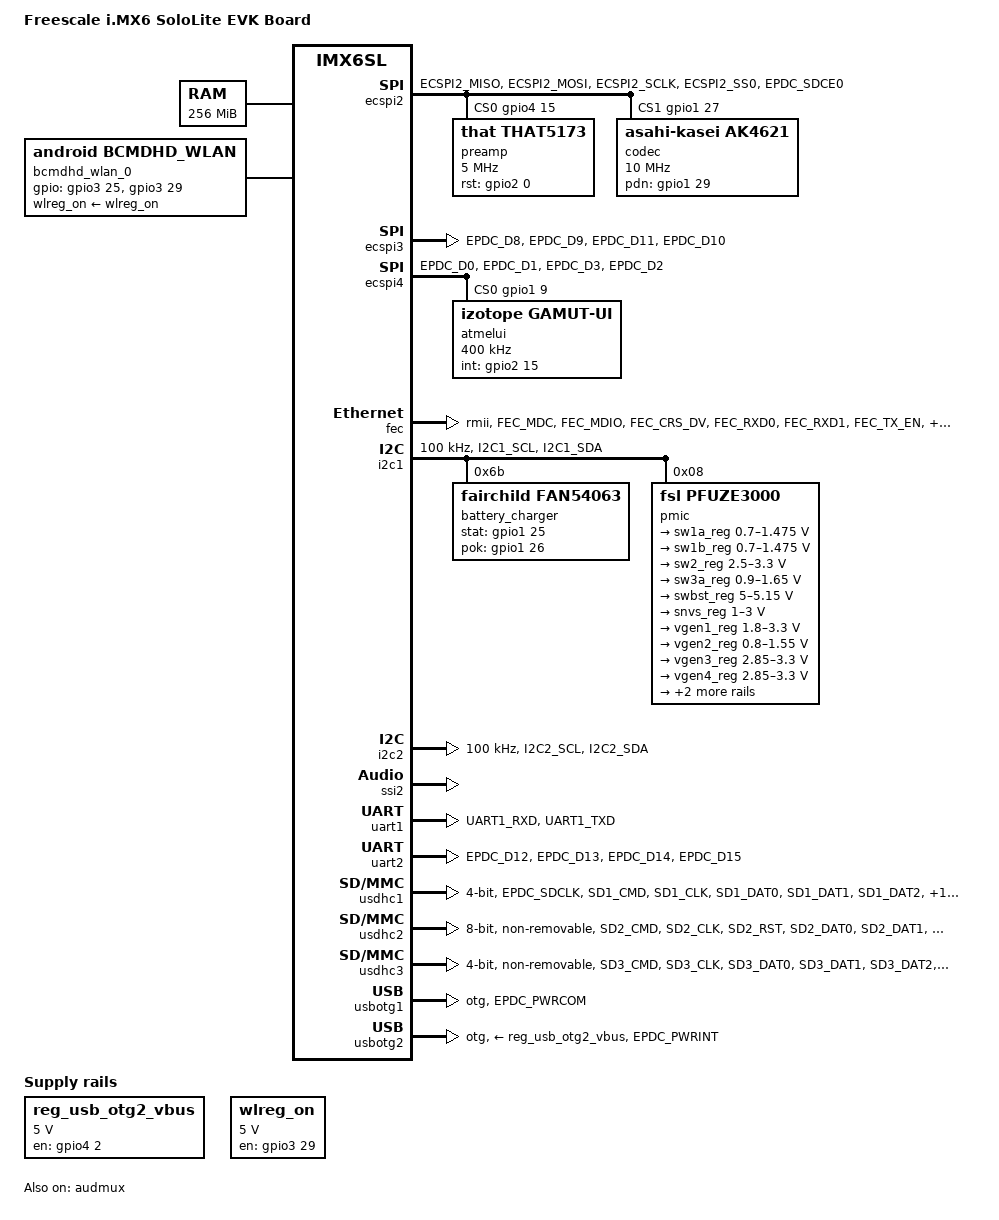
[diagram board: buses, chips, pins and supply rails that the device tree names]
/*
 * Copyright (C) 2013-2014 Freescale Semiconductor, Inc.
 * Copyright (C) 2017 iZotope, Inc. All Rights Reserved.
 *
 * This program is free software; you can redistribute it and/or modify
 * it under the terms of the GNU General Public License version 2 as
 * published by the Free Software Foundation.
 */

/dts-v1/;

/* TODO: convert all spaces to tabs... Atom is annoying like that */

#include <dt-bindings/input/input.h>
#include "imx6sl.dtsi"

/ {
	model = "Freescale i.MX6 SoloLite EVK Board";
	compatible = "fsl,imx6sl-evk", "fsl,imx6sl";

	aliases {
	};

	clocks {
		anaclk1 {
			compatible = "fixed-clock";
			clock-frequency = <24576000>;
		};
	};

	memory {
		/* 256 MiB of RAM */
		reg = <0x80000000 0x10000000>;
	};

	regulators {
		compatible = "simple-bus";
		#address-cells = <1>;
		#size-cells = <0>;

		/* CPU board USB power */
		reg_usb_otg2_vbus: regulator@1 {
			compatible = "regulator-fixed";
			reg = <1>;
			regulator-name = "usb_otg2_vbus";
			regulator-min-microvolt = <5000000>;
			regulator-max-microvolt = <5000000>;
			gpio = <&gpio4 2 0>;
			enable-active-high;
		};

		/* Murata -- add wlreg_on definition.  WL_REG_ON not defined - signal driven by Ver 1.0 Adapter circuit. */
		wlreg_on: fixedregulator@100 {
			compatible = "regulator-fixed";
			regulator-min-microvolt = <5000000>;
			regulator-max-microvolt = <5000000>;
			regulator-name = "wlreg_on";
			gpio = <&gpio3 29 0>; /* WL_REG_ON: SD3_DAT2 (gpio5_16) */
			startup-delay-us = <100>; /* WL_REG_ON needs 61 usec delay */ 
			regulator-always-on; 
			enable-active-high;
		};
	};

	sound {
		compatible = "izotope,gamut-audio-ak4621";
		cpu-dai = <&ssi2>;
		audio-codec = <&codec>;
		mux-int-port = <2>;
		mux-ext-port = <3>;
	};

	/* Murata -- define hook for BCMDHD driver.  */
	bcmdhd_wlan_0: bcmdhd_wlan@0 {
		compatible = "android,bcmdhd_wlan";
		/* WL_HOST_WAKE: SD3_DAT1 (gpio5 20); WL_REG_ON: SD3_DAT2 (gpio5 16) */
		gpios = <&gpio3 25 0>, <&gpio3 29 0>;
		wlreg_on-supply = <&wlreg_on>;
	};
};

&audmux {
	pinctrl-names = "default";
	pinctrl-0 = <&pinctrl_audmux>;
	status = "okay";
};

&clks {
	assigned-clocks = <&clks IMX6SL_PLL4_BYPASS_SRC>,
			  <&clks IMX6SL_PLL4_BYPASS>,
			  <&clks IMX6SL_CLK_EXTERN_AUDIO_SEL>,
			  <&clks IMX6SL_CLK_EXTERN_AUDIO>,
			  <&clks IMX6SL_CLK_PLL4_POST_DIV>;
	assigned-clock-parents = <&clks IMX6SL_CLK_LVDS1_IN>,
				<&clks IMX6SL_PLL4_BYPASS_SRC>,
				<&clks IMX6SL_CLK_PLL4_AUDIO_DIV>;
	assigned-clock-rates = <1>, <1>, <0>, <24000000>,
				<24576000>;
};

&cpu0 {
/*
	arm-supply = <&sw1a_reg>;
	soc-supply = <&sw1c_reg>;
*/
	/* taken from imx6sl-evk-ldo.dts */
	arm-supply = <&reg_arm>;
	soc-supply = <&reg_soc>;
};

/* Generic power-off driver */
&snvs_poweroff {
	status = "okay";
};

/* SPI2: Audio board control */
&ecspi2 {
	fsl,spi-num-chipselects = <2>;
	cs-gpios = <&gpio4 15 0>,
				<&gpio1 27 0>;
	pinctrl-names = "default";
	pinctrl-0 = <&pinctrl_ecspi2>;
	status = "okay";

	/* Forcibly disable DMA for SPI, as the SPI DMA 
	   can interfere with audio DMA. */
	/delete-property/ dma;
	/delete-property/ dma-names;

	preamp: that5173@0 {
		status = "okay";
		compatible = "that,that5173";
		spi-max-frequency = <5000000>;
		daisy-count = <2>;
		gpio-rst = <&gpio2 0 0>;
		reg = <0>;
	};

	codec: ak4621@1 {
		status = "okay";
		compatible = "asahi-kasei,ak4621";
		spi-max-frequency = <10000000>;
		gpio-pdn = <&gpio1 29 0>;
		reg = <1>;
	};
};

/* SPI3: SPI NOR boot flash */
&ecspi3 {
	fsl,spi-num-chipselects = <1>;
	cs-gpios = <&gpio1 17 0>;
	pinctrl-names = "default";
	pinctrl-0 = <&pinctrl_ecspi3>;
	status = "okay";

	/* Forcibly disable DMA for SPI, as the SPI DMA 
	   can interfere with audio DMA. */
	/delete-property/ dma;
	/delete-property/ dma-names;
};

/* SPI4: Atmel UI Comms */
&ecspi4 {
	fsl,spi-num-chipselects = <1>;
	cs-gpios = <&gpio1 9 0>;
	pinctrl-names = "default";
	pinctrl-0 = <&pinctrl_ecspi4>;
	status = "okay";

	/* Forcibly disable DMA for SPI, as the SPI DMA 
	   can interfere with audio DMA. */
	/delete-property/ dma;
	/delete-property/ dma-names;


	atmelui: gamut-ui@0 {
		status = "okay";
		compatible = "izotope,gamut-ui";
		spi-max-frequency = <400000>;
		reg = <0>;
		gpio-int = <&gpio2 15 0>;
	};
};

&fec {
	pinctrl-names = "default", "sleep";
	pinctrl-0 = <&pinctrl_fec>;
	pinctrl-1 = <&pinctrl_fec_sleep>;
	phy-mode = "rmii";
	status = "okay";
};

&gpc {
	/* use ldo-bypass, u-boot will check it and configure */
	/* fsl,ldo-bypass = <1>; */
	/* use ldo-enable, u-boot will check it and configure */
	fsl,ldo-bypass = <0>;
	/* watchdog select of reset source */
	fsl,wdog-reset = <1>;
};

/* I2C to PMIC and FAN54063*/
&i2c1 {
	clock-frequency = <100000>;
	pinctrl-names = "default";
	pinctrl-0 = <&pinctrl_i2c1>;
	status = "okay";

	battery_charger: fan54063@6b {
		compatible = "fairchild,fan54063";
		reg=<0x6b>;

		gpio-stat = <&gpio1 25 0>;
		gpio-pok = <&gpio1 26 0>;
	};

	pmic: pfuze3000@08 {
		compatible = "fsl,pfuze3000";
		reg = <0x08>;

		regulators {
			sw1a_reg: sw1a {
				regulator-min-microvolt = <700000>;
				regulator-max-microvolt = <1475000>;
				regulator-boot-on;
				regulator-always-on;
				regulator-ramp-delay = <6250>;
			};

			sw1b_reg: sw1b {
				regulator-min-microvolt = <700000>;
				regulator-max-microvolt = <1475000>;
				regulator-boot-on;
				regulator-always-on;
				regulator-ramp-delay = <6250>;
			};

			sw2_reg: sw2 {
				regulator-min-microvolt = <2500000>;
				regulator-max-microvolt = <3300000>;
				regulator-boot-on;
				regulator-always-on;
			};

			sw3a_reg: sw3 {
				regulator-min-microvolt = <900000>;
				regulator-max-microvolt = <1650000>;
				regulator-boot-on;
				regulator-always-on;
			};

			swbst_reg: swbst {
				regulator-min-microvolt = <5000000>;
				regulator-max-microvolt = <5150000>;
			};

			snvs_reg: vsnvs {
				regulator-min-microvolt = <1000000>;
				regulator-max-microvolt = <3000000>;
				regulator-boot-on;
				regulator-always-on;
			};

			vref_reg: vrefddr {
				regulator-boot-on;
				regulator-always-on;
			};

			vgen1_reg: vldo1 {
				regulator-min-microvolt = <1800000>;
				regulator-max-microvolt = <3300000>;
				regulator-always-on;
			};

			vgen2_reg: vldo2 {
				regulator-min-microvolt = <800000>;
				regulator-max-microvolt = <1550000>;
			};

			vgen3_reg: vccsd {
				regulator-min-microvolt = <2850000>;
				regulator-max-microvolt = <3300000>;
				regulator-always-on;
			};

			vgen4_reg: v33 {
				regulator-min-microvolt = <2850000>;
				regulator-max-microvolt = <3300000>;
				regulator-always-on;
			};

			vgen5_reg: vldo3 {
				regulator-min-microvolt = <1800000>;
				regulator-max-microvolt = <3300000>;
				regulator-always-on;
			};

			vgen6_reg: vldo4 {
				regulator-min-microvolt = <1800000>;
				regulator-max-microvolt = <3300000>;
				regulator-always-on;
			};
		};
	};
};

/* I2C to Audio board */
&i2c2 {
	clock-frequency = <100000>;
	pinctrl-names = "default";
	pinctrl-0 = <&pinctrl_i2c2>;
	status = "okay";
};


/* SSI for AK4621 */
&ssi2 {
	fsl,mode = "i2s-master";
	assigned-clocks = <&clks IMX6SL_CLK_SSI2_SEL>,
			  <&clks IMX6SL_CLK_SSI2>;
	assigned-clock-parents = <&clks IMX6SL_CLK_PLL4_AUDIO_DIV>;
	assigned-clock-rates = <2>, <24576000>;
	status = "okay";
};

/* serial console */
&uart1 {
	pinctrl-names = "default";
	pinctrl-0 = <&pinctrl_uart1>;
	status = "okay";
};

/* Bluetooth interface to Murata */
&uart2 {
	pinctrl-names = "default";
	pinctrl-0 = <&pinctrl_uart2>;
	fsl,uart-has-rtscts;
	status = "okay";
};

/* microSD card */
&usdhc1 {
	pinctrl-names = "default", "state_100mhz", "state_200mhz";
	pinctrl-0 = <&pinctrl_usdhc1>;
	pinctrl-1 = <&pinctrl_usdhc1_100mhz>;
	pinctrl-2 = <&pinctrl_usdhc1_200mhz>;
	bus-width = <4>;
	/* cd-gpios = <&gpio1 23 0>; */
	/*fsl,cd-controller;*/
	/*fsl,wp-controller;*/
	/* TODO: what do we think about these? */
	keep-power-in-suspend;
	enable-sdio-wakeup;
	status = "okay";
};

/* eMMC */
&usdhc2 {
	pinctrl-names = "default", "state_100mhz", "state_200mhz";
	pinctrl-0 = <&pinctrl_usdhc2>;
	pinctrl-1 = <&pinctrl_usdhc2_100mhz>;
	pinctrl-2 = <&pinctrl_usdhc2_200mhz>;
	bus-width = <8>;
	non-removable;
	no-1-8-v;
	/*full-pwr-cycle;*/
	keep-power-in-suspend;
	status = "okay";
};

/* Murata WiFi */
&usdhc3 {
	pinctrl-names = "default", "state_100mhz", "state_200mhz";
	pinctrl-0 = <&pinctrl_usdhc3>;
	pinctrl-1 = <&pinctrl_usdhc3_100mhz>;
	pinctrl-2 = <&pinctrl_usdhc3_200mhz>;
	bus-width = <4>; /* 4-bit SDIO; default is 8; MUX other 4 pins for UART4. */
	non-removable;
	no-1-8-v;	/* Murata - force 3.3V signaling. */
	keep-power-in-suspend;
	enable-sdio-wakeup;
	wifi-host; /* Murata */
	status = "okay";
};

/* Debug board USB */
&usbotg1 {
	/*vbus-supply = <&reg_usb_otg1_vbus>;*/
	pinctrl-names = "default";
	pinctrl-0 = <&pinctrl_usbotg1>;
	disable-over-current;
	dr_mode = "otg";
	srp-disable;
	hnp-disable;
	adp-disable;
	status = "okay";
};

/* CPU board USB */
&usbotg2 {
	vbus-supply = <&reg_usb_otg2_vbus>;
	pinctrl-names = "default";
	pinctrl-0 = <&pinctrl_usbotg2>;
	disable-over-current;
	dr_mode = "otg";
	srp-disable;
	hnp-disable;
	adp-disable;
	status = "okay";
};

/* Disabled subsystems */
&kpp { status = "disabled";};
&pwm1 { status = "disabled";};
&pwm2 { status = "disabled";};
&pwm3 { status = "disabled";};
&pwm4 { status = "disabled";};
&epdc { status = "disabled";};
&gpu { status = "disabled";};

/* Pin mux */
&iomuxc {
	pinctrl-names = "default";
	pinctrl-0 = <&pinctrl_hog>;

	imx6sl-evk {
		pinctrl_hog: hoggrp {
			fsl,pins = <
				/* GPIO for Atmel->IMX comms interrupt */
				MX6SL_PAD_LCD_CLK__GPIO2_IO15    0x110b0 /* Atmel->IMX IRQ line */
				MX6SL_PAD_LCD_ENABLE__GPIO2_IO16 0x100b0 /* SWCLK */
				MX6SL_PAD_LCD_HSYNC__GPIO2_IO17  0x100b0 /* SWDIO */
				MX6SL_PAD_LCD_VSYNC__GPIO2_IO18  0x110b0 /* SRST */

				/* GPIO for overtemp and VIN monitor */
				MX6SL_PAD_EPDC_D5__GPIO1_IO12 0x110b0 /* overtemp_top */
				MX6SL_PAD_EPDC_D6__GPIO1_IO13 0x110b0 /* overtemp_bottom */
				MX6SL_PAD_EPDC_D7__GPIO1_IO14 0x110b0 /* vin_monitor */

				/* TODO: set pads correct for all these GPIOs */
				/* Power related GPIOs */
				MX6SL_PAD_EPDC_SDLE__GPIO1_IO24  0x110b0 /* SEL_VBUS_H */
				MX6SL_PAD_EPDC_SDOE__GPIO1_IO25  0x1f0b0 /* BATT_CHARGE_STAT_GPIO_B */
				MX6SL_PAD_EPDC_SDSHR__GPIO1_IO26 0x1f0b0 /* BATT_POWER_OK_GPIO_B */

				/* GPIO for controlling the USB OTG2 power */
				MX6SL_PAD_KEY_COL5__GPIO4_IO02	0x80000000

				/* Audio GPIOs */
				MX6SL_PAD_EPDC_SDCE1__GPIO1_IO28    0x110b0 /* Audio GPIO  0 - OUT: HEADPHONE_MUTLE_L */
				MX6SL_PAD_EPDC_SDCE2__GPIO1_IO29    0x110b0 /* Audio GPIO  1 - OUT: CODEC_RESET_L */
				MX6SL_PAD_EPDC_SDCE3__GPIO1_IO30    0x110b0 /* Audio GPIO  2 - OUT: CODEC_PWR_ENABLE (unused) */
				MX6SL_PAD_EPDC_GDCLK__GPIO1_IO31    0x110b0 /* Audio GPIO  3 - OUT: AUDIO_POWER_EN */
				MX6SL_PAD_EPDC_GDOE__GPIO2_IO00     0x110b0 /* Audio GPIO  4 - OUT: THAT_PGA_RESET_L */
				MX6SL_PAD_EPDC_GDRL__GPIO2_IO01     0x110b0 /* Audio GPIO  5 -  IN: FRONT_HEADPHONE_IN_USE */
				MX6SL_PAD_EPDC_GDSP__GPIO2_IO02     0x110b0 /* Audio GPIO  6 -  IN: REAR_HEADPHONE_IN_USE */
				MX6SL_PAD_EPDC_VCOM0__GPIO2_IO03    0x110b0 /* Audio GPIO  7 -  IN: CH1_XLR_PLUGGED_IN_L */
				MX6SL_PAD_EPDC_VCOM1__GPIO2_IO04    0x110b0 /* Audio GPIO  8 -  IN: CH1_TRS_PLUGGED_IN_L */
				MX6SL_PAD_EPDC_BDR0__GPIO2_IO05     0x110b0 /* Audio GPIO  9 -  IN: CH2_XLR_PLUGGED_IN_L */
				MX6SL_PAD_EPDC_BDR1__GPIO2_IO06     0x110b0 /* Audio GPIO 10 -  IN: CH2_TRS_PLUGGED_IN_L */
				MX6SL_PAD_EPDC_PWRCTRL0__GPIO2_IO07 0x110b0 /* Audio GPIO 11 -  IN: PHANTOM_SW_ON */
				MX6SL_PAD_EPDC_PWRCTRL1__GPIO2_IO08 0x110b0 /* Audio GPIO 12 -  IN: RCH_OVFL_ZERO */
				MX6SL_PAD_EPDC_PWRCTRL2__GPIO2_IO09 0x110b0 /* Audio GPIO 13 -  IN: LCH_OVFL_ZERO */
				MX6SL_PAD_EPDC_PWRCTRL3__GPIO2_IO10 0x110b0 /* Audio GPIO 14 -  IN: AUDIO_PWR_OK */

				/* WiFi chip GPIOs */
				MX6SL_PAD_KEY_ROW0__GPIO3_IO25 0x13069 /* WIFI_HOST_WAKE */
				MX6SL_PAD_KEY_ROW1__GPIO3_IO27 0x13069 /* WIFI_BT_REG_ON */
				MX6SL_PAD_KEY_ROW2__GPIO3_IO29 0x13069 /* WIFI_WL_REG_ON */

				/* 32khz for the Murata WiFi */
				MX6SL_PAD_REF_CLK_32K__XTALOSC_REF_CLK_32K 0x110b0 /* TODO: revisit the pad settings */

				/* GPIOs to debug board LEDs */
				MX6SL_PAD_LCD_DAT5__GPIO2_IO25  0x110b0 /* LED 0 */
				MX6SL_PAD_LCD_DAT11__GPIO2_IO31 0x110b0 /* LED 1 */
				MX6SL_PAD_LCD_DAT13__GPIO3_IO01 0x110b0 /* LED 2 */
			>;
		};

		pinctrl_audmux: audmuxgrp {
			fsl,pins = <
				/* ext port 3 for AK4621 */
				MX6SL_PAD_AUD_RXD__AUD3_RXD       0x130b0
				MX6SL_PAD_AUD_TXC__AUD3_TXC       0x130b0
				MX6SL_PAD_AUD_TXD__AUD3_TXD       0x110b0
				MX6SL_PAD_AUD_TXFS__AUD3_TXFS     0x130b0
				MX6SL_PAD_AUD_MCLK__AUDIO_CLK_OUT 0x130b0
				/* Int port ?, ext port 4 for I2S/PCM to bluetooth */
				MX6SL_PAD_ECSPI1_SCLK__AUD4_TXD  0x130b0
				MX6SL_PAD_ECSPI1_MOSI__AUD4_TXC  0x130b0
				MX6SL_PAD_ECSPI1_MISO__AUD4_TXFS 0x130b0
				MX6SL_PAD_ECSPI1_SS0__AUD4_RXD   0x130b0
			>;
		};

		/* UART1: Linux serial terminal */
		pinctrl_uart1: uart1grp {
			fsl,pins = <
				MX6SL_PAD_UART1_RXD__UART1_RX_DATA 0x1b0b1
				MX6SL_PAD_UART1_TXD__UART1_TX_DATA 0x1b0b1
			>;
		};

		/* I2C1: PMIC control */
		pinctrl_i2c1: i2c1grp {
			fsl,pins = <
				MX6SL_PAD_I2C1_SCL__I2C1_SCL 0x4001b8b1
				MX6SL_PAD_I2C1_SDA__I2C1_SDA 0x4001b8b1
			>;
		};

		/* I2C2: audio board control */
		pinctrl_i2c2: i2c2grp {
			fsl,pins = <
				MX6SL_PAD_I2C2_SCL__I2C2_SCL 0x4001b8b1
				MX6SL_PAD_I2C2_SDA__I2C2_SDA 0x4001b8b1
			>;
		};

		/* SPI2: audio board SPI */
		pinctrl_ecspi2: ecspi2grp {
			fsl,pins = <
				MX6SL_PAD_ECSPI2_MISO__ECSPI2_MISO   0x100b1
				MX6SL_PAD_ECSPI2_MOSI__ECSPI2_MOSI   0x100b1
				MX6SL_PAD_ECSPI2_SCLK__ECSPI2_SCLK   0x100b1
				/* Note: SS is handed by GPIO, not ECSPI module */
				MX6SL_PAD_ECSPI2_SS0__GPIO4_IO15 0x170b1 /* SS0 */
				MX6SL_PAD_EPDC_SDCE0__GPIO1_IO27 0x170b1 /* SS1 */
			>;
		};

		/* Fast Ethernet Controller (verbaitum from imx6slevk board) */
		pinctrl_fec: fecgrp {
			fsl,pins = <
				MX6SL_PAD_FEC_MDC__FEC_MDC         0x1b0b0
				MX6SL_PAD_FEC_MDIO__FEC_MDIO       0x1b0b0
				MX6SL_PAD_FEC_CRS_DV__FEC_RX_DV    0x1b0b0
				MX6SL_PAD_FEC_RXD0__FEC_RX_DATA0   0x1b0b0
				MX6SL_PAD_FEC_RXD1__FEC_RX_DATA1   0x1b0b0
				MX6SL_PAD_FEC_TX_EN__FEC_TX_EN     0x1b0b0
				MX6SL_PAD_FEC_TXD0__FEC_TX_DATA0   0x1b0b0
				MX6SL_PAD_FEC_TXD1__FEC_TX_DATA1   0x1b0b0
				MX6SL_PAD_FEC_REF_CLK__FEC_REF_OUT 0x4001b0a8
			>;
		};

		/* Fast Ethernet Controller sleep (verbaitum from imx6slevk board) */
		pinctrl_fec_sleep: fecgrp-sleep {
			fsl,pins = <
				MX6SL_PAD_FEC_MDC__GPIO4_IO23     0x3080
				MX6SL_PAD_FEC_MDIO__GPIO4_IO20    0x3080
				MX6SL_PAD_FEC_CRS_DV__GPIO4_IO25  0x3080
				MX6SL_PAD_FEC_RXD0__GPIO4_IO17    0x3080
				MX6SL_PAD_FEC_RXD1__GPIO4_IO18    0x3080
				MX6SL_PAD_FEC_TX_EN__GPIO4_IO22   0x3080
				MX6SL_PAD_FEC_TXD0__GPIO4_IO24    0x3080
				MX6SL_PAD_FEC_TXD1__GPIO4_IO16    0x3080
				MX6SL_PAD_FEC_REF_CLK__GPIO4_IO26 0x3080
			>;
		};

		/* SPI4: front panel Atmel comms */
		pinctrl_ecspi4: ecspi4grp {
			fsl,pins = <
				MX6SL_PAD_EPDC_D0__ECSPI4_MOSI 0x100b1
				MX6SL_PAD_EPDC_D1__ECSPI4_MISO 0x100b1
				MX6SL_PAD_EPDC_D3__ECSPI4_SCLK 0x100b1
				/* Note: SS is handled by GPIO, not ECSPI module */
				MX6SL_PAD_EPDC_D2__GPIO1_IO09  0x100b1
			>;
		};

		/* SPI3: NOR boot flash */
		pinctrl_ecspi3: ecspi3grp {
			fsl,pins = <
				MX6SL_PAD_EPDC_D8__ECSPI3_MOSI  0x100b1
				MX6SL_PAD_EPDC_D9__ECSPI3_MISO  0x100b1
				MX6SL_PAD_EPDC_D11__ECSPI3_SCLK 0x100b1
				/* Note: SS is handled by GPIO, not ECSPI module */
				MX6SL_PAD_EPDC_D10__GPIO1_IO17  0x100b1
			>;
		};

		/* USB OTG1, debug board USB */
		pinctrl_usbotg1: usbotg1grp {
			fsl,pins = <
				MX6SL_PAD_EPDC_PWRCOM__USB_OTG1_ID	0x17059
			>;
		};

		/* USB OTG2: cpu board USB */
		pinctrl_usbotg2: usbotg2grp {
			fsl,pins = <
				MX6SL_PAD_EPDC_PWRINT__USB_OTG2_ID	0x17059
			>;
		};

		/* UART2: bluetooth uart */
		pinctrl_uart2: uart2grp {
			fsl,pins = <
				MX6SL_PAD_EPDC_D12__UART2_RX_DATA 0x1b0b1
				MX6SL_PAD_EPDC_D13__UART2_TX_DATA 0x1b0b1
				MX6SL_PAD_EPDC_D14__UART2_RTS_B   0x1b0b1
				MX6SL_PAD_EPDC_D15__UART2_CTS_B   0x1b0b1
			>;
		};

		/* uSDHC1: microSD card slot */
		pinctrl_usdhc1: usdhc1grp {
			fsl,pins = <
				MX6SL_PAD_EPDC_SDCLK__GPIO1_IO23 0x110b0 /* Card Detect GPIO */
				MX6SL_PAD_SD1_CMD__SD1_CMD       0x17059
				MX6SL_PAD_SD1_CLK__SD1_CLK       0x10059
				MX6SL_PAD_SD1_DAT0__SD1_DATA0    0x17059
				MX6SL_PAD_SD1_DAT1__SD1_DATA1    0x17059
				MX6SL_PAD_SD1_DAT2__SD1_DATA2    0x17059
				MX6SL_PAD_SD1_DAT3__SD1_DATA3    0x17059
			>;
		};

		pinctrl_usdhc1_100mhz: usdhc1grp100mhz {
			fsl,pins = <
				MX6SL_PAD_EPDC_SDCLK__GPIO1_IO23 0x110b0 /* Card Detect GPIO */
				MX6SL_PAD_SD1_CMD__SD1_CMD       0x170b9
				MX6SL_PAD_SD1_CLK__SD1_CLK       0x100b9
				MX6SL_PAD_SD1_DAT0__SD1_DATA0    0x170b9
				MX6SL_PAD_SD1_DAT1__SD1_DATA1    0x170b9
				MX6SL_PAD_SD1_DAT2__SD1_DATA2    0x170b9
				MX6SL_PAD_SD1_DAT3__SD1_DATA3    0x170b9
			>;
		};

		pinctrl_usdhc1_200mhz: usdhc1grp200mhz {
			fsl,pins = <
				MX6SL_PAD_EPDC_SDCLK__GPIO1_IO23 0x110b0 /* Card Detect GPIO */
				MX6SL_PAD_SD1_CMD__SD1_CMD       0x170f9
				MX6SL_PAD_SD1_CLK__SD1_CLK       0x100f9
				MX6SL_PAD_SD1_DAT0__SD1_DATA0    0x170f9
				MX6SL_PAD_SD1_DAT1__SD1_DATA1    0x170f9
				MX6SL_PAD_SD1_DAT2__SD1_DATA2    0x170f9
				MX6SL_PAD_SD1_DAT3__SD1_DATA3    0x170f9
			>;
		};

		/* uSDHC2: eMMC */
		pinctrl_usdhc2: usdhc2grp {
			fsl,pins = <
				MX6SL_PAD_SD2_CMD__SD2_CMD    0x17059
				MX6SL_PAD_SD2_CLK__SD2_CLK    0x10059
				MX6SL_PAD_SD2_RST__SD2_RESET  0x17059
				MX6SL_PAD_SD2_DAT0__SD2_DATA0 0x17059
				MX6SL_PAD_SD2_DAT1__SD2_DATA1 0x17059
				MX6SL_PAD_SD2_DAT2__SD2_DATA2 0x17059
				MX6SL_PAD_SD2_DAT3__SD2_DATA3 0x17059
				MX6SL_PAD_SD2_DAT4__SD2_DATA4 0x17059
				MX6SL_PAD_SD2_DAT5__SD2_DATA5 0x17059
				MX6SL_PAD_SD2_DAT6__SD2_DATA6 0x17059
				MX6SL_PAD_SD2_DAT7__SD2_DATA7 0x17059
			>;
		};

		pinctrl_usdhc2_100mhz: usdhc2grp100mhz {
			fsl,pins = <
				MX6SL_PAD_SD2_CMD__SD2_CMD    0x170b9
				MX6SL_PAD_SD2_CLK__SD2_CLK    0x100b9
				MX6SL_PAD_SD2_RST__SD2_RESET  0x170b9
				MX6SL_PAD_SD2_DAT0__SD2_DATA0 0x170b9
				MX6SL_PAD_SD2_DAT1__SD2_DATA1 0x170b9
				MX6SL_PAD_SD2_DAT2__SD2_DATA2 0x170b9
				MX6SL_PAD_SD2_DAT3__SD2_DATA3 0x170b9
				MX6SL_PAD_SD2_DAT4__SD2_DATA4 0x170b9
				MX6SL_PAD_SD2_DAT5__SD2_DATA5 0x170b9
				MX6SL_PAD_SD2_DAT6__SD2_DATA6 0x170b9
				MX6SL_PAD_SD2_DAT7__SD2_DATA7 0x170b9
			>;
		};

		pinctrl_usdhc2_200mhz: usdhc2grp200mhz {
			fsl,pins = <
				MX6SL_PAD_SD2_CMD__SD2_CMD    0x170f9
				MX6SL_PAD_SD2_CLK__SD2_CLK    0x100f9
				MX6SL_PAD_SD2_RST__SD2_RESET  0x170f9
				MX6SL_PAD_SD2_DAT0__SD2_DATA0 0x170f9
				MX6SL_PAD_SD2_DAT1__SD2_DATA1 0x170f9
				MX6SL_PAD_SD2_DAT2__SD2_DATA2 0x170f9
				MX6SL_PAD_SD2_DAT3__SD2_DATA3 0x170b9
				MX6SL_PAD_SD2_DAT4__SD2_DATA4 0x170b9
				MX6SL_PAD_SD2_DAT5__SD2_DATA5 0x170b9
				MX6SL_PAD_SD2_DAT6__SD2_DATA6 0x170b9
				MX6SL_PAD_SD2_DAT7__SD2_DATA7 0x170b9
			>;
		};

		/* uSDHC3: Murata SDIO WiFi */
		pinctrl_usdhc3: usdhc3grp {
			fsl,pins = <
				MX6SL_PAD_SD3_CMD__SD3_CMD     0x17059
				MX6SL_PAD_SD3_CLK__SD3_CLK     0x10059
				MX6SL_PAD_SD3_DAT0__SD3_DATA0  0x17059
				MX6SL_PAD_SD3_DAT1__SD3_DATA1  0x17059
				MX6SL_PAD_SD3_DAT2__SD3_DATA2  0x17059
				MX6SL_PAD_SD3_DAT3__SD3_DATA3  0x17059
			>;
		};

		pinctrl_usdhc3_100mhz: usdhc3grp100mhz {
			fsl,pins = <
				MX6SL_PAD_SD3_CMD__SD3_CMD     0x170b9
				MX6SL_PAD_SD3_CLK__SD3_CLK     0x100b9
				MX6SL_PAD_SD3_DAT0__SD3_DATA0  0x170b9
				MX6SL_PAD_SD3_DAT1__SD3_DATA1  0x170b9
				MX6SL_PAD_SD3_DAT2__SD3_DATA2  0x170b9
				MX6SL_PAD_SD3_DAT3__SD3_DATA3  0x170b9
			>;
		};

		pinctrl_usdhc3_200mhz: usdhc3grp200mhz {
			fsl,pins = <
				MX6SL_PAD_SD3_CMD__SD3_CMD    0x170f9
				MX6SL_PAD_SD3_CLK__SD3_CLK    0x100f9
				MX6SL_PAD_SD3_DAT0__SD3_DATA0 0x170f9
				MX6SL_PAD_SD3_DAT1__SD3_DATA1 0x170f9
				MX6SL_PAD_SD3_DAT2__SD3_DATA2 0x170f9
				MX6SL_PAD_SD3_DAT3__SD3_DATA3 0x170f9
			>;
		};
	};
};
